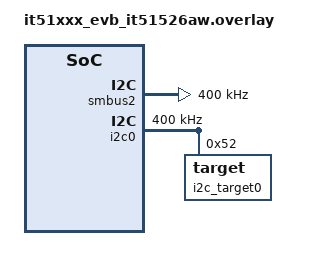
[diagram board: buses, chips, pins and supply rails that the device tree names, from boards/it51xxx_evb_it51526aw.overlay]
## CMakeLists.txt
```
# Copyright (c) 2026 ITE Corporation. All Rights Reserved.
# SPDX-License-Identifier: Apache-2.0

cmake_minimum_required(VERSION 3.28.0)

find_package(Zephyr REQUIRED HINTS $ENV{ZEPHYR_BASE})
project(smbus_it51xxx_test)

file(GLOB app_sources src/*.c)
target_sources(app PRIVATE ${app_sources})
```

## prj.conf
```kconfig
# SPDX-License-Identifier: Apache-2.0

CONFIG_ZTEST=y

# SMBus host controller under test (smbus2 / channel C)
CONFIG_SMBUS=y

# I2C subsystem + target mode, for the i2c0 test peripheral (channel A)
CONFIG_I2C=y
CONFIG_I2C_TARGET=y

CONFIG_LOG=y
CONFIG_SMBUS_LOG_LEVEL_INF=y
CONFIG_I2C_LOG_LEVEL_INF=y

CONFIG_ZTEST_ASSERT_VERBOSE=1
```

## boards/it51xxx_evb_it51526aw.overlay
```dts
/*
 * Copyright (c) 2026 ITE Corporation. All Rights Reserved.
 *
 * SPDX-License-Identifier: Apache-2.0
 */

/ {
	aliases {
		smbus-host = &smbus2;
		i2c-target = &i2c0;
	};
};

&smbus2 {
	clock-frequency = <I2C_BITRATE_FAST>;

	pinctrl-0 = <&i2c2_clk_gpf6_default
		     &i2c2_data_gpf7_default>;
	pinctrl-names = "default";
	fifo-enable;
	status = "okay";
};

&i2c0 {
	clock-frequency = <I2C_BITRATE_FAST>;
	pinctrl-0 = <&i2c0_clk_gpf2_default
		     &i2c0_data_gpf3_default>;
	pinctrl-names = "default";

	target-enable;
	target-shared-fifo-mode;
	status = "okay";

	i2c_target0: target@52 {
		reg = <0x52>;
		size = <256>;
	};
};
```

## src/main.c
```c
/*
 * Copyright (c) 2026 ITE Corporation. All Rights Reserved.
 *
 * SPDX-License-Identifier: Apache-2.0
 */

#include <zephyr/device.h>
#include <zephyr/devicetree.h>
#include <zephyr/logging/log.h>
#include <zephyr/ztest.h>

LOG_MODULE_REGISTER(smbus_it51xxx_test, LOG_LEVEL_INF);

static const struct device *const smbus_host_dev = DEVICE_DT_GET(DT_ALIAS(smbus_host));
static const struct device *const smbus_target_bus_dev = DEVICE_DT_GET(DT_ALIAS(i2c_target));

/* Pure bring-up checks */
ZTEST(smbus_device, test_devices_ready)
{
	zassert_true(device_is_ready(smbus_host_dev), "SMBus host device %s not ready",
		     smbus_host_dev->name);
	zassert_true(device_is_ready(smbus_target_bus_dev), "I2C target bus device %s not ready",
		     smbus_target_bus_dev->name);
}

ZTEST_SUITE(smbus_device, NULL, NULL, NULL, NULL, NULL);
```

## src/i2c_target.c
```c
/*
 * Copyright (c) 2026 ITE Corporation. All Rights Reserved.
 *
 * SPDX-License-Identifier: Apache-2.0
 */

#include "i2c_target.h"

#include <errno.h>
#include <string.h>

#include <zephyr/drivers/i2c.h>
#include <zephyr/logging/log.h>
#include <zephyr/sys/util.h>
#include <zephyr/toolchain.h>

LOG_MODULE_REGISTER(smbus_test_target, LOG_LEVEL_INF);

struct test_target_state {
	struct i2c_target_config cfg;
	const struct device *bus;

	uint8_t write_buf[CONFIG_I2C_TARGET_IT51XXX_MAX_BUF_SIZE];
	size_t write_len;

	uint8_t read_buf[CONFIG_I2C_TARGET_IT51XXX_MAX_BUF_SIZE];
	size_t read_len;
	size_t read_idx;

	bool registered;
};

static struct test_target_state state;

static int target_write_requested(struct i2c_target_config *cfg)
{
	ARG_UNUSED(cfg);

	state.write_len = 0;

	return 0;
}

static int target_write_received(struct i2c_target_config *cfg, uint8_t val)
{
	ARG_UNUSED(cfg);

	if (state.write_len >= CONFIG_I2C_TARGET_IT51XXX_MAX_BUF_SIZE) {
		LOG_ERR("write capture buffer full, dropping byte 0x%02x", val);
		return -ENOMEM;
	}

	state.write_buf[state.write_len++] = val;

	return 0;
}

static int target_read_requested(struct i2c_target_config *cfg, uint8_t *val)
{
	ARG_UNUSED(cfg);

	state.read_idx = 0;

	if (state.read_len == 0) {
		/* Nothing preloaded: NACK the read so the test sees a real error. */
		LOG_WRN("read requested but nothing preloaded");
		return -EIO;
	}

	*val = state.read_buf[state.read_idx++];

	return 0;
}

static int target_read_processed(struct i2c_target_config *cfg, uint8_t *val)
{
	ARG_UNUSED(cfg);

	if (state.read_idx >= state.read_len) {
		/* Host is clocking out more bytes than were preloaded. */
		LOG_WRN("read past preloaded data (idx=%u len=%u)", (unsigned int)state.read_idx,
			(unsigned int)state.read_len);
		*val = 0xFF;
		return 0;
	}

	*val = state.read_buf[state.read_idx++];

	return 0;
}

#ifdef CONFIG_I2C_TARGET_BUFFER_MODE
static void target_buf_write_received(struct i2c_target_config *config, uint8_t *ptr, uint32_t len)
{
	ARG_UNUSED(config);

	if (len > CONFIG_I2C_TARGET_IT51XXX_MAX_BUF_SIZE) {
		LOG_ERR("buf_write_received: len %u exceeds capture buffer (%d), truncating", len,
			CONFIG_I2C_TARGET_IT51XXX_MAX_BUF_SIZE);
		len = CONFIG_I2C_TARGET_IT51XXX_MAX_BUF_SIZE;
	}

	memcpy(state.write_buf, ptr, len);
	state.write_len = len;
}

static int target_buf_read_requested(struct i2c_target_config *cfg, uint8_t **ptr, uint32_t *len)
{
	ARG_UNUSED(cfg);

	*ptr = state.read_buf;
	*len = (uint32_t)state.read_len;

	return 0;
}
#endif

static int target_stop(struct i2c_target_config *cfg)
{
	ARG_UNUSED(cfg);

	return 0;
}

static const struct i2c_target_callbacks test_target_callbacks = {
	.write_requested = target_write_requested,
	.write_received = target_write_received,
	.read_requested = target_read_requested,
	.read_processed = target_read_processed,
#ifdef CONFIG_I2C_TARGET_BUFFER_MODE
	.buf_write_received = target_buf_write_received,
	.buf_read_requested = target_buf_read_requested,
#endif
	.stop = target_stop,
};

int test_target_start(const struct device *bus)
{
	int ret;

	if (!device_is_ready(bus)) {
		LOG_ERR("I2C target bus %s not ready", bus->name);
		return -ENODEV;
	}

	memset(&state, 0, sizeof(state));
	state.bus = bus;
	state.cfg.address = SMBUS_TEST_TARGET_ADDR;
	state.cfg.callbacks = &test_target_callbacks;

	ret = i2c_target_register(bus, &state.cfg);
	if (ret == 0) {
		state.registered = true;
	} else {
		LOG_ERR("i2c_target_register failed: %d", ret);
	}

	return ret;
}

int test_target_stop(void)
{
	int ret;

	if (!state.registered) {
		return 0;
	}

	ret = i2c_target_unregister(state.bus, &state.cfg);
	if (ret == 0) {
		state.registered = false;
	}

	return ret;
}

void test_target_reset(void)
{
	state.write_len = 0;
	state.read_len = 0;
}

size_t test_target_write_len(void)
{
	return state.write_len;
}

const uint8_t *test_target_write_buf(void)
{
	return state.write_buf;
}

void test_target_set_read_data(const uint8_t *data, size_t len)
{
	size_t copy_len = MIN(len, CONFIG_I2C_TARGET_IT51XXX_MAX_BUF_SIZE);

	if (data != NULL && copy_len > 0) {
		memcpy(state.read_buf, data, copy_len);
	}

	state.read_len = copy_len;
}
```

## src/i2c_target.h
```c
/*
 * Copyright (c) 2026 ITE Corporation. All Rights Reserved.
 *
 * SPDX-License-Identifier: Apache-2.0
 */

#ifndef SMBUS_TEST_I2C_TARGET_H_
#define SMBUS_TEST_I2C_TARGET_H_

#include <zephyr/device.h>
#include <stdbool.h>
#include <stddef.h>
#include <stdint.h>

/* 7-bit target address used by the test target on i2c1 */
#define SMBUS_TEST_TARGET_ADDR 0x52

/* Register the test target on @p bus */
int test_target_start(const struct device *bus);

/* Unregister the test target. Safe to call even if not registered */
int test_target_stop(void);

/* Clear captured write data, the preloaded read queue, and all counters */
void test_target_reset(void);

/* Number of bytes captured during the most recent write-direction phase */
size_t test_target_write_len(void);

/* Captured write-direction bytes; valid until the next reset/transaction */
const uint8_t *test_target_write_buf(void);

/* Preload the bytes to hand back on the next read-direction phase */
void test_target_set_read_data(const uint8_t *data, size_t len);

#endif /* SMBUS_TEST_I2C_TARGET_H_ */
```

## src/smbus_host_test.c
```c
/*
 * Copyright (c) 2026 ITE Corporation. All Rights Reserved.
 *
 * SPDX-License-Identifier: Apache-2.0
 */

#include <errno.h>

#include <zephyr/device.h>
#include <zephyr/devicetree.h>
#include <zephyr/drivers/smbus.h>
#include <zephyr/logging/log.h>
#include <zephyr/sys/crc.h>
#include <zephyr/toolchain.h>
#include <zephyr/ztest.h>

#include "i2c_target.h"

LOG_MODULE_REGISTER(smbus_api_test, LOG_LEVEL_INF);

/*
 * Functional coverage for smbus_ite_it51xxx.c against a real it51xxx_evb:
 *   host   = smbus2 (channel C)
 *   target = i2c0   (channel A), driven directly by i2c_target.c
 *
 * Test groups:
 *   - protocol coverage: one test per SMBus API entry point
 *   - PEC: positive (write + read) and negative (corrupted read PEC)
 *   - Host Notify: callback registration mechanics
 *   - error paths: address NACK, invalid block params, target NACK
 */

static const struct device *const host = DEVICE_DT_GET(DT_ALIAS(smbus_host));
static const struct device *const target_bus = DEVICE_DT_GET(DT_ALIAS(i2c_target));

/* Address with no target registered on the bus, for NACK/error-path tests */
#define SMBUS_TEST_UNUSED_ADDR 0x70

#define SMBUS_HOST_NOTIFY_MAX_PORT 2

static uint8_t pec_calc(const uint8_t *bytes, size_t len)
{
	uint8_t crc = 0;

	return crc8_ccitt(crc, bytes, len);
}

/* Suite setup / before/ after / teardown */
static void *smbus_api_setup(void)
{
	int ret;

	zassert_true(device_is_ready(host), "SMBus host %s not ready", host->name);

	ret = test_target_start(target_bus);
	zassert_equal(ret, 0, "test_target_start failed: %d", ret);

	ret = smbus_configure(host, SMBUS_MODE_CONTROLLER);
	zassert_equal(ret, 0, "smbus_configure(CONTROLLER) failed: %d", ret);

	return NULL;
}

static void smbus_api_before(void *fixture)
{
	ARG_UNUSED(fixture);

	test_target_reset();
}

static void smbus_api_after(void *fixture)
{
	ARG_UNUSED(fixture);

	/* Force config back to plain controller mode (no PEC, no Host Notify) after every test */
	(void)smbus_configure(host, SMBUS_MODE_CONTROLLER);
}

static void smbus_api_teardown(void *fixture)
{
	ARG_UNUSED(fixture);
	(void)test_target_stop();
}

ZTEST_SUITE(smbus_api, NULL, smbus_api_setup, smbus_api_before, smbus_api_after,
	    smbus_api_teardown);

/* Protocol coverage test */
ZTEST(smbus_api, test_quick_write)
{
	int ret = smbus_quick(host, SMBUS_TEST_TARGET_ADDR, SMBUS_MSG_WRITE);

	zassert_equal(ret, 0, "smbus_quick(WRITE) failed: %d", ret);
	/* Quick has no data */
	zassert_equal(test_target_write_len(), 0, "unexpected data on Quick command");
}

ZTEST(smbus_api, test_byte_write)
{
	int ret = smbus_byte_write(host, SMBUS_TEST_TARGET_ADDR, 0xa5);

	zassert_equal(ret, 0, "smbus_byte_write failed: %d", ret);
	zassert_equal(test_target_write_len(), 1, "wrong byte count");
	zassert_equal(test_target_write_buf()[0], 0xa5, "wrong byte value");
}

ZTEST(smbus_api, test_byte_read)
{
	int ret;
	uint8_t preload[] = {0x5a};
	uint8_t val = 0;

	test_target_set_read_data(preload, sizeof(preload));

	ret = smbus_byte_read(host, SMBUS_TEST_TARGET_ADDR, &val);

	zassert_equal(ret, 0, "smbus_byte_read failed: %d", ret);
	zassert_equal(val, 0x5a, "wrong byte value read back");
}

ZTEST(smbus_api, test_byte_data_write)
{
	int ret = smbus_byte_data_write(host, SMBUS_TEST_TARGET_ADDR, 0x10, 0x77);

	zassert_equal(ret, 0, "smbus_byte_data_write failed: %d", ret);
	zassert_equal(test_target_write_len(), 2, "wrong byte count");
	zassert_equal(test_target_write_buf()[0], 0x10, "wrong command byte");
	zassert_equal(test_target_write_buf()[1], 0x77, "wrong data byte");
}

ZTEST(smbus_api, test_byte_data_read)
{
	int ret;
	uint8_t preload[] = {0x99};
	uint8_t val = 0;

	test_target_set_read_data(preload, sizeof(preload));

	ret = smbus_byte_data_read(host, SMBUS_TEST_TARGET_ADDR, 0x20, &val);

	zassert_equal(ret, 0, "smbus_byte_data_read failed: %d", ret);
	zassert_equal(val, 0x99, "wrong data byte read back");
	zassert_equal(test_target_write_len(), 1, "wrong command-phase length");
	zassert_equal(test_target_write_buf()[0], 0x20, "wrong command byte");
}

ZTEST(smbus_api, test_word_data_write)
{
	int ret = smbus_word_data_write(host, SMBUS_TEST_TARGET_ADDR, 0x30, 0x1234);

	zassert_equal(ret, 0, "smbus_word_data_write failed: %d", ret);
	zassert_equal(test_target_write_len(), 3, "wrong byte count");
	zassert_equal(test_target_write_buf()[0], 0x30, "wrong command byte");
	zassert_equal(test_target_write_buf()[1], 0x34, "wrong LSB");
	zassert_equal(test_target_write_buf()[2], 0x12, "wrong MSB");
}

ZTEST(smbus_api, test_word_data_read)
{
	int ret;
	uint16_t word = 0;
	/* LSB, MSB -> 0x5678 */
	uint8_t preload[] = {0x78, 0x56};

	test_target_set_read_data(preload, sizeof(preload));

	ret = smbus_word_data_read(host, SMBUS_TEST_TARGET_ADDR, 0x40, &word);

	zassert_equal(ret, 0, "smbus_word_data_read failed: %d", ret);
	zassert_equal(word, 0x5678, "wrong word read back");
}

ZTEST(smbus_api, test_pcall)
{
	int ret;
	uint16_t recv = 0;
	/* LSB, MSB -> 0xbeef */
	uint8_t preload[] = {0xef, 0xbe};

	test_target_set_read_data(preload, sizeof(preload));

	ret = smbus_pcall(host, SMBUS_TEST_TARGET_ADDR, 0x50, 0xcafe, &recv);

	zassert_equal(ret, 0, "smbus_pcall failed: %d", ret);
	zassert_equal(recv, 0xbeef, "wrong process-call response");
	zassert_equal(test_target_write_len(), 3, "wrong write-phase length");
	zassert_equal(test_target_write_buf()[0], 0x50, "wrong command byte");
	zassert_equal(test_target_write_buf()[1], 0xfe, "wrong sent LSB");
	zassert_equal(test_target_write_buf()[2], 0xca, "wrong sent MSB");
}

ZTEST(smbus_api, test_block_write)
{
	int ret;
	uint8_t block[SMBUS_BLOCK_BYTES_MAX - 1];

	for (int i = 0; i < SMBUS_BLOCK_BYTES_MAX - 1; i++) {
		block[i] = (uint8_t)(0xc0 + i);
	}

	ret = smbus_block_write(host, SMBUS_TEST_TARGET_ADDR, 0x60, sizeof(block), block);

	zassert_equal(ret, 0, "smbus_block_write failed: %d", ret);
	/* Wire order: [cmd, count, data...] */
	zassert_equal(test_target_write_len(), 2 + sizeof(block), "wrong byte count");
	zassert_equal(test_target_write_buf()[0], 0x60, "wrong command byte");
	zassert_equal(test_target_write_buf()[1], sizeof(block), "wrong byte-count field");
	zassert_mem_equal(&test_target_write_buf()[2], block, sizeof(block), "wrong block data");
}

ZTEST(smbus_api, test_block_read)
{
	int ret;
	/* [count, data...] as the SMBus Block Read wire format expects */
	uint8_t preload[SMBUS_BLOCK_BYTES_MAX];
	uint8_t out_buf[SMBUS_BLOCK_BYTES_MAX];
	uint8_t out_count = 0;

	preload[0] = SMBUS_BLOCK_BYTES_MAX - 1;
	for (int i = 1; i < SMBUS_BLOCK_BYTES_MAX; i++) {
		preload[i] = (uint8_t)(0xa0 + i);
	}
	test_target_set_read_data(preload, sizeof(preload));

	ret = smbus_block_read(host, SMBUS_TEST_TARGET_ADDR, 0x70, &out_count, out_buf);

	zassert_equal(ret, 0, "smbus_block_read failed: %d", ret);
	zassert_equal(out_count, SMBUS_BLOCK_BYTES_MAX - 1, "wrong reported byte count");
	zassert_mem_equal(out_buf, &preload[1], SMBUS_BLOCK_BYTES_MAX - 1,
			  "wrong block data read back");
	/* Write phase of Block Read is just the command byte */
	zassert_equal(test_target_write_len(), 1, "wrong command-phase length");
	zassert_equal(test_target_write_buf()[0], 0x70, "wrong command byte");
}

ZTEST(smbus_api, test_block_pcall_not_supported)
{
	int ret;
	uint8_t snd[] = {0x01};
	uint8_t rcv[SMBUS_BLOCK_BYTES_MAX];
	uint8_t rcv_count = 0;

	ret = smbus_block_pcall(host, SMBUS_TEST_TARGET_ADDR, 0x80, sizeof(snd), snd, &rcv_count,
				rcv);

	/* smbus_it51xxx_block_pcall() is not currently supported */
	zassert_equal(ret, -ENOSYS, "expected -ENOSYS, got %d", ret);
}

/* PEC test */
ZTEST(smbus_api, test_pec_byte_data_write)
{
	int ret;
	uint8_t wire[3];
	uint8_t expected_pec;

	ret = smbus_configure(host, SMBUS_MODE_CONTROLLER | SMBUS_MODE_PEC);
	zassert_equal(ret, 0, "smbus_configure(PEC) failed: %d", ret);

	ret = smbus_byte_data_write(host, SMBUS_TEST_TARGET_ADDR, 0x11, 0x22);
	zassert_equal(ret, 0, "smbus_byte_data_write (PEC) failed: %d", ret);

	/* The PEC is calculated for comparison with the PEC obtained after actual transmission */
	wire[0] = (uint8_t)(SMBUS_TEST_TARGET_ADDR << 1) | 0;
	wire[1] = 0x11;
	wire[2] = 0x22;
	expected_pec = pec_calc(wire, sizeof(wire));
	LOG_INF("Byte data write: expected pec=0x%02x", expected_pec);

	zassert_equal(test_target_write_len(), 3, "expected cmd+data+PEC");
	zassert_equal(test_target_write_buf()[2], expected_pec,
		      "PEC mismatch: hw=0x%02x expected=0x%02x", test_target_write_buf()[2],
		      expected_pec);

	ret = smbus_configure(host, SMBUS_MODE_CONTROLLER);
	zassert_equal(ret, 0, "smbus_configure(restore) failed: %d", ret);
}

ZTEST(smbus_api, test_pec_byte_data_read)
{
	int ret;
	uint8_t wire[4];
	uint8_t expected_pec;
	uint8_t preload[2];
	uint8_t val = 0;

	ret = smbus_configure(host, SMBUS_MODE_CONTROLLER | SMBUS_MODE_PEC);
	zassert_equal(ret, 0, "smbus_configure(PEC) failed: %d", ret);

	/* The PEC is calculated for comparison with the PEC obtained after actual transmission */
	wire[0] = (uint8_t)(SMBUS_TEST_TARGET_ADDR << 1) | 0;
	wire[1] = 0x12;
	wire[2] = (uint8_t)(SMBUS_TEST_TARGET_ADDR << 1) | 1;
	wire[3] = 0x9b;
	expected_pec = pec_calc(wire, sizeof(wire));
	LOG_INF("Byte data read: expected pec=0x%02x", expected_pec);

	preload[0] = wire[3];
	preload[1] = expected_pec;
	test_target_set_read_data(preload, sizeof(preload));

	ret = smbus_byte_data_read(host, SMBUS_TEST_TARGET_ADDR, 0x12, &val);

	zassert_equal(ret, 0, "smbus_byte_data_read (PEC) failed: %d", ret);
	zassert_equal(val, 0x9b, "wrong data byte");

	ret = smbus_configure(host, SMBUS_MODE_CONTROLLER);
	zassert_equal(ret, 0, "smbus_configure(restore) failed: %d", ret);
}

ZTEST(smbus_api, test_pec_byte_data_read_corrupt)
{
	int ret;
	/* Deliberately wrong PEC byte */
	uint8_t preload[2] = {0x9b, 0x00};
	uint8_t val = 0;

	ret = smbus_configure(host, SMBUS_MODE_CONTROLLER | SMBUS_MODE_PEC);
	zassert_equal(ret, 0, "smbus_configure(PEC) failed: %d", ret);

	test_target_set_read_data(preload, sizeof(preload));

	ret = smbus_byte_data_read(host, SMBUS_TEST_TARGET_ADDR, 0x12, &val);

	zassert_equal(ret, -EIO, "expected -EIO on PEC mismatch, got %d", ret);

	ret = smbus_configure(host, SMBUS_MODE_CONTROLLER);
	zassert_equal(ret, 0, "smbus_configure(restore) failed: %d", ret);
}

ZTEST(smbus_api, test_pec_block_read)
{
	int ret;
	uint8_t wire[6];
	uint8_t expected_pec;
	uint8_t preload[4];
	uint8_t out_buf[SMBUS_BLOCK_BYTES_MAX];
	uint8_t len = 0;

	ret = smbus_configure(host, SMBUS_MODE_CONTROLLER | SMBUS_MODE_PEC);
	zassert_equal(ret, 0, "smbus_configure(PEC) failed: %d", ret);

	/* The PEC is calculated for comparison with the PEC obtained after actual transmission */
	wire[0] = (uint8_t)(SMBUS_TEST_TARGET_ADDR << 1) | 0;
	wire[1] = 0x12;
	wire[2] = (uint8_t)(SMBUS_TEST_TARGET_ADDR << 1) | 1;
	wire[3] = 0x02;
	wire[4] = 0x1f;
	wire[5] = 0x1e;
	expected_pec = pec_calc(wire, sizeof(wire));
	LOG_INF("Byte data read: expected pec=0x%02x", expected_pec);

	preload[0] = wire[3];
	preload[1] = wire[4];
	preload[2] = wire[5];
	preload[3] = expected_pec;
	test_target_set_read_data(preload, sizeof(preload));

	ret = smbus_block_read(host, SMBUS_TEST_TARGET_ADDR, 0x12, &len, out_buf);
	zassert_equal(ret, 0, "smbus_byte_data_read (PEC) failed: %d", ret);
	zassert_equal(len, 2, "wrong data len");
	/* The comparison data does not include length and PEC data */
	zassert_mem_equal(out_buf, &preload[1], sizeof(preload) - 2, "wrong block data read back");

	ret = smbus_configure(host, SMBUS_MODE_CONTROLLER);
	zassert_equal(ret, 0, "smbus_configure(restore) failed: %d", ret);
}

/* Host Notify test */
static void host_notify_cb_handler(const struct device *dev, struct smbus_callback *cb,
				   uint8_t addr)
{
	ARG_UNUSED(cb);

	LOG_INF("%s: Host Notify fired, addr=0x%02x", dev->name, addr);
}

ZTEST(smbus_api, test_host_notify_cb_register)
{
	struct smbus_callback cb = {
		.handler = host_notify_cb_handler,
		.addr = SMBUS_TEST_TARGET_ADDR,
	};
	int ret;

	ret = smbus_configure(host, SMBUS_MODE_CONTROLLER | SMBUS_MODE_HOST_NOTIFY);
#if DT_PROP(DT_ALIAS(smbus_host), port_num) > SMBUS_HOST_NOTIFY_MAX_PORT
	zassert_equal(ret, -EIO,
		      "expected -EIO enabling Host Notify on an unsupported port, got %d", ret);
#else
	zassert_equal(ret, 0, "smbus_configure(HOST_NOTIFY) failed: %d", ret);
#endif

	ret = smbus_host_notify_set_cb(host, &cb);
	zassert_equal(ret, 0, "smbus_host_notify_set_cb failed: %d", ret);

	ret = smbus_host_notify_remove_cb(host, &cb);
	zassert_equal(ret, 0, "smbus_host_notify_remove_cb failed: %d", ret);

	ret = smbus_configure(host, SMBUS_MODE_CONTROLLER);
	zassert_equal(ret, 0, "smbus_configure(restore) failed: %d", ret);
}

/* SMBALERT# test */
static void smbalert_cb_handler(const struct device *dev, struct smbus_callback *cb, uint8_t addr)
{
	ARG_UNUSED(cb);

	LOG_INF("%s: SMBALERT# fired, addr=0x%02x", dev->name, addr);
}

ZTEST(smbus_api, test_smbalert_cb_register)
{
	struct smbus_callback cb = {
		.handler = smbalert_cb_handler,
		.addr = SMBUS_TEST_TARGET_ADDR,
	};
	int ret;
	uint32_t config = 0;

	ret = smbus_configure(host, SMBUS_MODE_CONTROLLER | SMBUS_MODE_SMBALERT);
	zassert_equal(ret, 0, "smbus_configure(SMBALERT) failed: %d", ret);

	ret = smbus_get_config(host, &config);
	zassert_equal(ret, 0, "smbus_get_config failed: %d", ret);
	zassert_true(config & SMBUS_MODE_SMBALERT, "SMBALERT bit not reflected in config");

	ret = smbus_smbalert_set_cb(host, &cb);
	zassert_equal(ret, 0, "smbus_smbalert_set_cb failed: %d", ret);

	ret = smbus_smbalert_remove_cb(host, &cb);
	zassert_equal(ret, 0, "smbus_smbalert_remove_cb failed: %d", ret);

	ret = smbus_configure(host, SMBUS_MODE_CONTROLLER);
	zassert_equal(ret, 0, "smbus_configure(restore) failed: %d", ret);
}

/* Generic API-contract / error paths */
ZTEST(smbus_api, test_get_config_null)
{
	int ret = smbus_get_config(host, NULL);

	zassert_equal(ret, -EIO, "expected -EIO for NULL config pointer, got %d", ret);
}

ZTEST(smbus_api, test_error_address_nack)
{
	/* No target registered at this address: expect a NACK -> -EIO */
	int ret = smbus_byte_write(host, SMBUS_TEST_UNUSED_ADDR, 0x00);

	zassert_equal(ret, -EIO, "expected -EIO addressing an absent peripheral, got %d", ret);
}

ZTEST(smbus_api, test_error_block_write_invalid_count)
{
	uint8_t buf[1] = {0};
	int ret;

	/* count == 0 and count > SMBUS_BLOCK_BYTES_MAX */
	ret = smbus_block_write(host, SMBUS_TEST_TARGET_ADDR, 0x60, 0, buf);
	zassert_equal(ret, -EINVAL, "expected -EINVAL for count=0, got %d", ret);

	ret = smbus_block_write(host, SMBUS_TEST_TARGET_ADDR, 0x60, SMBUS_BLOCK_BYTES_MAX + 1, buf);
	zassert_equal(ret, -EINVAL, "expected -EINVAL for count>max, got %d", ret);
}

ZTEST(smbus_api, test_error_block_write_null_buf)
{
	/*
	 * A valid count with a NULL buffer passes the subsystem-level check
	 * but is rejected by the driver itself.
	 */
	int ret = smbus_block_write(host, SMBUS_TEST_TARGET_ADDR, 0x60, 4, NULL);

	zassert_equal(ret, -EIO, "expected -EIO for NULL buffer, got %d", ret);
}
```
